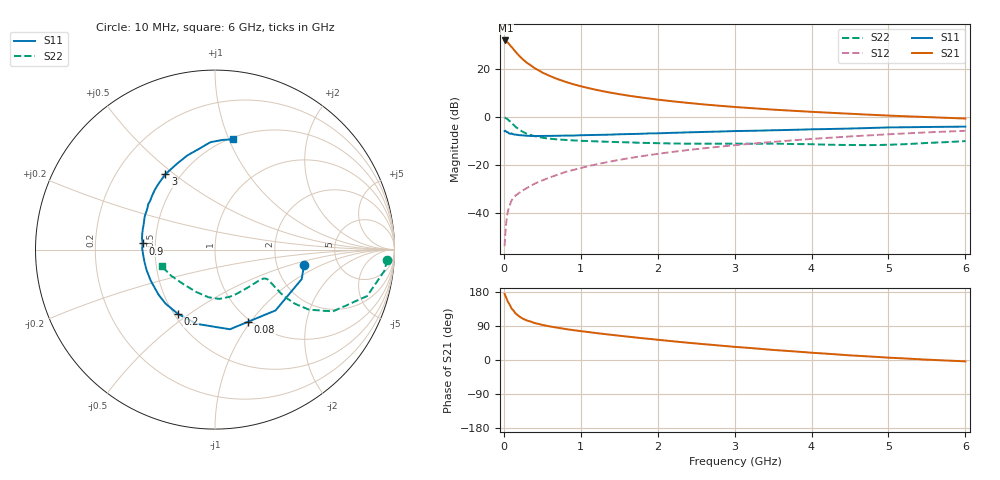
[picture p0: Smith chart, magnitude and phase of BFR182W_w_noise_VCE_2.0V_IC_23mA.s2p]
! Infineon Technologies  Discrete & RF Semiconductors
! BFR182W
! VCE =  2.0 V,  IC =  23 mA
! Common Emitter S-Parameters:  Jan 2017
# GHz  S  MA  R  50
!  f  S11  S21  S12  S22
! GHz  MAG  ANG  MAG  ANG  MAG  ANG  MAG  ANG
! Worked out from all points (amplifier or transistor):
!   77 points, 10 MHz to 6 GHz, reference 50 ohm
!   highest |S21| = 31.8 dB at 20 MHz (marker M1)
!   |S21| within 3 dB of that: start of sweep to 108.5 MHz
!   unconditionally stable (mu >= 1): 562.2 MHz to 2.396 GHz
!   at 130 MHz: K = 0.49, MSG = 30.8 dB, |S12| = -33.7 dB
!   at 2.2 GHz: K = 1.02, MAG = 9.7 dB, |S12| = -14.6 dB
!   at 6 GHz: K = 0.88, MSG = 2.6 dB, |S12| = -5.9 dB
!   lowest NFmin = 1.50 dB at 450 MHz
!   S11 on the Smith chart (normalised r, x): 10 MHz: 2.87, -0.64; 80 MHz: 0.97, -0.97; 200 MHz: 0.52, -0.45; 900 MHz: 0.42, +0.04; 3 GHz: 0.41, +0.46; 6 GHz: 0.52, +1.04
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0.01  0.5036 -9.6  38.8 174.5  0.002 83.1  0.9612 -3.4
0.02  0.5103 -18.8  39.01 169.4  0.0038 83.4  0.951 -7.2
0.05  0.4782 -45.1  35.47 154.6  0.0102 72.3  0.886 -17.0
0.08  0.4423 -65.3  30.98 144.3  0.0148 69.5  0.7958 -23.0
0.1  0.4516 -79.4  28.68 135.9  0.0179 68.5  0.7414 -27.7
0.15  0.4262 -103.8  22.87 123.4  0.0225 62.6  0.6205 -32.6
0.2  0.4132 -120.1  18.62 115.0  0.0259 62.8  0.5385 -34.1
0.25  0.4081 -132.6  15.6 108.7  0.0294 61.5  0.4821 -34.1
0.3  0.4023 -141.6  13.32 104.2  0.0326 62.5  0.441 -33.6
0.4  0.3978 -154.2  10.32 97.5  0.0402 66.0  0.3932 -32.0
0.5  0.3981 -163.4  8.374 92.6  0.0471 67.2  0.3656 -30.8
0.6  0.3989 -170.1  7.061 88.5  0.0545 68.1  0.3481 -30.0
0.7  0.4012 -175.7  6.09 85.1  0.0618 69.4  0.3365 -29.5
0.9  0.4048 175.1  4.779 78.9  0.0775 70.7  0.3215 -30.1
1.1  0.4147 167.8  3.958 73.7  0.0936 71.2  0.3114 -31.6
1.5  0.4309 155.8  2.955 64.1  0.126 70.2  0.2953 -37.0
2.1  0.4567 141.2  2.183 51.4  0.1768 67.1  0.2789 -49.7
3  0.5027 123.4  1.6 34.7  0.255 60.3  0.2753 -72.8
3.1  0.5056 121.5  1.559 33.2  0.2637 59.3  0.2744 -75.2
4.1  0.5504 104.8  1.244 17.9  0.3531 50.0  0.2644 -100.9
5.1  0.6011 91.1  1.042 5.2  0.4391 39.5  0.2636 -135.8
6  0.6232 80.6  0.918 -3.7  0.5094 29.7  0.3106 -162.5
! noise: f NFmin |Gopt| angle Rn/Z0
0.45  1.5  0.14  -170  0.15
0.9  1.58  0.16  -165  0.16
1.9  2.1  0.31  -139  0.17
2.4  2.38  0.32  -127  0.27
